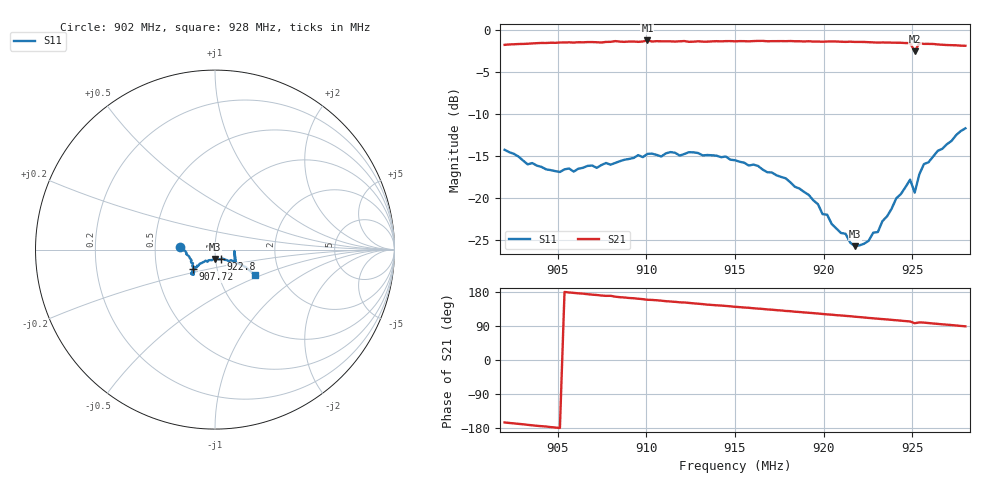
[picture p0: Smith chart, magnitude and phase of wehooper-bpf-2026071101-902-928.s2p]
# HZ S RI R 50
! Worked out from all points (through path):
!   101 points, 902 MHz to 928 MHz, reference 50 ohm
!   highest |S21| = -1.19 dB at 910.06 MHz (marker M1); lowest = -2.5 dB at 925.14 MHz (marker M2)
!   lowest |S11| = -25.7 dB at 921.76 MHz (marker M3), VSWR 1.11, Z = 49.6 - j5.17 ohm
!   |S11| at or under -10 dB: start of sweep to end of sweep
!   S12 and S22 are empty: the file has one direction only
!   S11 on the Smith chart (normalised r, x): 902 MHz: 0.67, +0.02; 907.72 MHz: 0.77, -0.17; 922.8 MHz: 1.06, -0.11; 928 MHz: 1.48, -0.45
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9.02e8  -0.1941 0.0157  -0.7916 -0.2148  0 0  0 0
9.033e8  -0.1586 -0.0178  -0.823 -0.1289  0 0  0 0
9.0434e8  -0.1438 -0.0394  -0.8391 -0.0655  0 0  0 0
9.0642e8  -0.1224 -0.0904  -0.8466 0.0723  0 0  0 0
9.0772e8  -0.1228 -0.1065  -0.8393 0.1591  0 0  0 0
9.1006e8  -0.1194 -0.1402  -0.8134 0.3129  0 0  0 0
9.1084e8  -0.1208 -0.1304  -0.7904 0.3433  0 0  0 0
9.1266e8  -0.1302 -0.1358  -0.738 0.4356  0 0  0 0
9.15e8  -0.1248 -0.1137  -0.6633 0.5493  0 0  0 0
9.1786e8  -0.0954 -0.0909  -0.5481 0.6665  0 0  0 0
9.1942e8  -0.0677 -0.0701  -0.4762 0.714  0 0  0 0
9.1994e8  -0.0522 -0.0616  -0.4465 0.7313  0 0  0 0
9.2176e8  -0.00124 -0.052  -0.3522 0.7782  0 0  0 0
9.2254e8  0.0179 -0.053  -0.3053 0.7947  0 0  0 0
9.228e8  0.0317 -0.054  -0.2911 0.7972  0 0  0 0
9.2306e8  0.0392 -0.0495  -0.2738 0.8007  0 0  0 0
9.2384e8  0.0651 -0.0578  -0.2326 0.8134  0 0  0 0
9.2488e8  0.1096 -0.0688  -0.1703 0.8235  0 0  0 0
9.2514e8  0.108 -0.00768  -0.0918 0.745  0 0  0 0
9.254e8  0.1174 -0.0748  -0.135 0.8292  0 0  0 0
9.2566e8  0.1395 -0.0786  -0.1257 0.8219  0 0  0 0
9.28e8  0.2204 -0.1404  0.0163 0.8099  0 0  0 0
